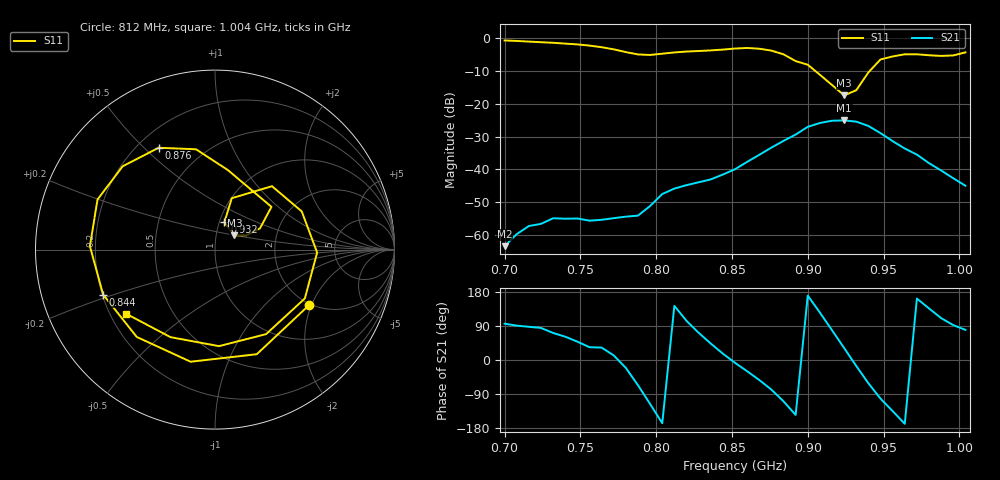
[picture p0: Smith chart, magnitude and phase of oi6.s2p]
# Hz S RI R 50
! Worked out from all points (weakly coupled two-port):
!   39 points, 700 MHz to 1.004 GHz, reference 50 ohm
!   highest |S21| = -25.08 dB at 924 MHz (marker M1); lowest = -63.5 dB at 700 MHz (marker M2)
!   lowest |S11| = -17.4 dB at 924 MHz (marker M3), VSWR 1.31, Z = 61.2 + j9.96 ohm
!   |S11| at or under -10 dB: 905 MHz to 940.9 MHz (35.83 MHz wide, 3.88 % of centre)
!   S12 and S22 are empty: the file has one direction only
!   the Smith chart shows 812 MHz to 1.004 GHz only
!   S11 on the Smith chart (normalised r, x): 812 MHz: 1.94, -1.91; 844 MHz: 0.20, -0.19; 876 MHz: 0.28, +0.55; 932 MHz: 1.06, +0.33; 1.004 GHz: 0.27, -0.30
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7e8  0.7631 0.5255  -6.85e-05 0.000665  0 0  0 0
7.24e8  0.8311 -0.2616  0.000138 0.00146  0 0  0 0
7.4e8  0.4448 -0.6991  0.000836 0.00154  0 0  0 0
7.56e8  -0.196 -0.7481  0.00137 0.00091  0 0  0 0
7.72e8  -0.6526 -0.1839  0.00175 0.000373  0 0  0 0
7.8e8  -0.5696 0.2323  0.00176 -0.000674  0 0  0 0
7.88e8  -0.2123 0.5254  0.000776 -0.0018  0 0  0 0
7.96e8  0.2646 0.4894  -0.00121 -0.00247  0 0  0 0
8.04e8  0.5676 0.1276  -0.00407 -0.000955  0 0  0 0
8.12e8  0.5225 -0.3107  -0.00404 0.00305  0 0  0 0
8.28e8  -0.1361 -0.6247  0.00196 0.00601  0 0  0 0
8.44e8  -0.6234 -0.2504  0.00795 0.0024  0 0  0 0
8.52e8  -0.697 0.0195  0.00992 -0.0013  0 0  0 0
8.76e8  -0.3139 0.5675  0.00442 -0.0209  0 0  0 0
9e8  0.3145 0.2382  -0.0437 0.00777  0 0  0 0
9.08e8  0.2507 0.1185  -0.0293 0.0416  0 0  0 0
9.24e8  0.1078 0.0799  0.0474 0.0293  0 0  0 0
9.32e8  0.0523 0.1522  0.0513 -0.0145  0 0  0 0
9.48e8  0.3175 0.3533  -0.00737 -0.0348  0 0  0 0
9.56e8  0.4833 0.2128  -0.0189 -0.0191  0 0  0 0
9.8e8  0.2847 -0.471  -0.00891 0.00859  0 0  0 0
1.004e9  -0.4934 -0.3583  0.00102 0.0055  0 0  0 0
